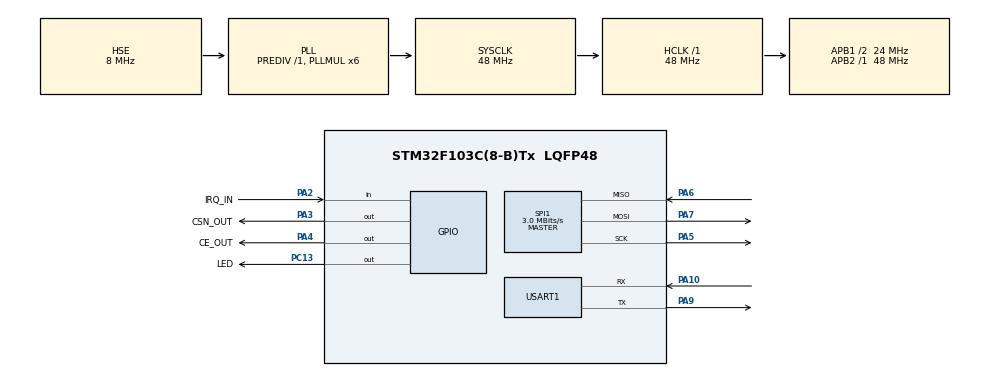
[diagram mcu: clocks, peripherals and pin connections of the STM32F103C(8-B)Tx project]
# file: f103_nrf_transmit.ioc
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Dma.Request0=USART1_RX
Dma.USART1_RX.0.Direction=DMA_PERIPH_TO_MEMORY
Dma.USART1_RX.0.Instance=DMA1_Channel5
Dma.USART1_RX.0.MemDataAlignment=DMA_MDATAALIGN_BYTE
Dma.USART1_RX.0.MemInc=DMA_MINC_ENABLE
Dma.USART1_RX.0.Mode=DMA_NORMAL
Dma.USART1_RX.0.PeriphDataAlignment=DMA_PDATAALIGN_BYTE
Dma.USART1_RX.0.PeriphInc=DMA_PINC_DISABLE
Dma.USART1_RX.0.Priority=DMA_PRIORITY_LOW
Mcu.Family=STM32F1
Mcu.Name=STM32F103C(8-B)Tx
Mcu.Package=LQFP48
NVIC.DMA1_Channel5_IRQn=true\:0\:0\:false\:false\:true\:false\:true
NVIC.PriorityGroup=NVIC_PRIORITYGROUP_4
NVIC.USART1_IRQn=true\:2\:0\:true\:false\:true\:true\:true
PA10.Mode=Asynchronous
PA10.Signal=USART1_RX
PA13.Mode=Serial_Wire
PA13.Signal=SYS_JTMS-SWDIO
PA14.Mode=Serial_Wire
PA14.Signal=SYS_JTCK-SWCLK
PA2.GPIO_Label=IRQ_IN
PA2.Signal=GPIO_Input
PA3.GPIO_Label=CSN_OUT
PA3.Signal=GPIO_Output
PA4.GPIO_Label=CE_OUT
PA4.Signal=GPIO_Output
PA5.Mode=Full_Duplex_Master
PA5.Signal=SPI1_SCK
PA6.Mode=Full_Duplex_Master
PA6.Signal=SPI1_MISO
PA7.Mode=Full_Duplex_Master
PA7.Signal=SPI1_MOSI
PA9.Mode=Asynchronous
PA9.Signal=USART1_TX
PC13-TAMPER-RTC.GPIO_Label=LED
PC13-TAMPER-RTC.Signal=GPIO_Output
PD0-OSC_IN.Mode=HSE-External-Oscillator
PD0-OSC_IN.Signal=RCC_OSC_IN
PD1-OSC_OUT.Mode=HSE-External-Oscillator
PD1-OSC_OUT.Signal=RCC_OSC_OUT
ProjectManager.HeapSize=0x200
ProjectManager.StackSize=0x400
ProjectManager.TargetToolchain=STM32CubeIDE
RCC.AHBFreq_Value=48000000
RCC.APB1CLKDivider=RCC_HCLK_DIV2
RCC.APB1Freq_Value=24000000
RCC.APB1TimFreq_Value=48000000
RCC.APB2Freq_Value=48000000
RCC.APB2TimFreq_Value=48000000
RCC.HCLKFreq_Value=48000000
RCC.PLLMUL=RCC_PLL_MUL6
RCC.PLLSourceVirtual=RCC_PLLSOURCE_HSE
RCC.SYSCLKFreq_VALUE=48000000
RCC.SYSCLKSource=RCC_SYSCLKSOURCE_PLLCLK
RCC.USBFreq_Value=48000000
SPI1.BaudRatePrescaler=SPI_BAUDRATEPRESCALER_16
SPI1.CalculateBaudRate=3.0 MBits/s
SPI1.Direction=SPI_DIRECTION_2LINES
SPI1.Mode=SPI_MODE_MASTER
SPI1.VirtualType=VM_MASTER
USART1.VirtualMode=VM_ASYNC
board=custom

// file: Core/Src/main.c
/* USER CODE BEGIN Header */
/**
 ******************************************************************************
 * @file           : main.c
 * @brief          : Main program body
 ******************************************************************************
 * @attention
 *
 * <h2><center>&copy; Copyright (c) 2020 STMicroelectronics.
 * All rights reserved.</center></h2>
 *
 * This software component is licensed by ST under BSD 3-Clause license,
 * the "License"; You may not use this file except in compliance with the
 * License. You may obtain a copy of the License at:
 *                        opensource.org/licenses/BSD-3-Clause
 *
 ******************************************************************************
 */
/* USER CODE END Header */

#include "main.h"

/* USER CODE BEGIN Includes */
#include "NRF24.h"
#include <stdio.h>
/* USER CODE END Includes */

/* USER CODE BEGIN PD */
#define STR_INPUT_LENGTH 100
/* USER CODE END PD */

SPI_HandleTypeDef hspi1;

UART_HandleTypeDef huart1;
DMA_HandleTypeDef hdma_usart1_rx;

/* USER CODE BEGIN PV */
char str1[STR_INPUT_LENGTH] = { 0 };
uint8_t str1_pos = 0;
uint8_t buf1[30] = { 0 };
/* USER CODE END PV */

void SystemClock_Config(void);
static void MX_GPIO_Init(void);
static void MX_DMA_Init(void);
static void MX_SPI1_Init(void);
static void MX_USART1_UART_Init(void);

int main(void)
{
	/* USER CODE BEGIN 1 */
	//uint8_t dt_reg = 0;
	uint8_t retr_cnt;
	int8_t dt;
	uint16_t retr_cnt_full;
	uint8_t ch[17] = "                ";
	uint8_t ch_2[17] = "                ";
	/* USER CODE END 1 */

	/* MCU Configuration--------------------------------------------------------*/

	/* Reset of all peripherals, Initializes the Flash interface and the Systick. */
	HAL_Init();

	/* Configure the system clock */
	SystemClock_Config();

	/* Initialize all configured peripherals */
	MX_GPIO_Init();
	MX_DMA_Init();
	MX_SPI1_Init();
	MX_USART1_UART_Init();
	/* USER CODE BEGIN 2 */
	NRF24_ini();
	/* USER CODE END 2 */

	/* Infinite loop */
	while (1)
	{

		/* USER CODE BEGIN 3 */

		if (HAL_UART_Receive(&huart1, ch, 16, 500) != HAL_OK)
		{
			dt = NRF24_Send(ch_2, 200);
			if (dt == -1)
			{
				char string_log[] = "//---no connection---//\n";
				HAL_UART_Transmit(&huart1, (uint8_t*) string_log, strlen(string_log), 1000);
			}
		}
		else
		{
			strcpy(ch_2, ch);
			dt = NRF24_Send(ch, 200);
			if (dt == -1)
			{
				char string_log[] = "//---no connection---//\n";
				HAL_UART_Transmit(&huart1, (uint8_t*) string_log, strlen(string_log), 1000);
			}
			else
			{
				retr_cnt = dt & 0xF;
				retr_cnt_full += retr_cnt;
				sprintf(str1, "\t took %i repeats to send\n", dt & 0x0F);
				HAL_UART_Transmit(&huart1, (uint8_t*) str1, strlen(str1), 1000);
			}
			HAL_Delay(200);
		}
	}
	/* USER CODE END 3 */
}

void SystemClock_Config(void)
{
	RCC_OscInitTypeDef RCC_OscInitStruct = { 0 };
	RCC_ClkInitTypeDef RCC_ClkInitStruct = { 0 };

	/** Initializes the CPU, AHB and APB busses clocks
	 */
	RCC_OscInitStruct.OscillatorType = RCC_OSCILLATORTYPE_HSE;
	RCC_OscInitStruct.HSEState = RCC_HSE_ON;
	RCC_OscInitStruct.HSEPredivValue = RCC_HSE_PREDIV_DIV1;
	RCC_OscInitStruct.HSIState = RCC_HSI_ON;
	RCC_OscInitStruct.PLL.PLLState = RCC_PLL_ON;
	RCC_OscInitStruct.PLL.PLLSource = RCC_PLLSOURCE_HSE;
	RCC_OscInitStruct.PLL.PLLMUL = RCC_PLL_MUL6;
	if (HAL_RCC_OscConfig(&RCC_OscInitStruct) != HAL_OK)
	{
		Error_Handler();
	}
	/** Initializes the CPU, AHB and APB busses clocks
	 */
	RCC_ClkInitStruct.ClockType = RCC_CLOCKTYPE_HCLK | RCC_CLOCKTYPE_SYSCLK | RCC_CLOCKTYPE_PCLK1
			| RCC_CLOCKTYPE_PCLK2;
	RCC_ClkInitStruct.SYSCLKSource = RCC_SYSCLKSOURCE_PLLCLK;
	RCC_ClkInitStruct.AHBCLKDivider = RCC_SYSCLK_DIV1;
	RCC_ClkInitStruct.APB1CLKDivider = RCC_HCLK_DIV2;
	RCC_ClkInitStruct.APB2CLKDivider = RCC_HCLK_DIV1;

	if (HAL_RCC_ClockConfig(&RCC_ClkInitStruct, FLASH_LATENCY_1) != HAL_OK)
	{
		Error_Handler();
	}
}

static void MX_SPI1_Init(void)
{

	/* SPI1 parameter configuration*/
	hspi1.Instance = SPI1;
	hspi1.Init.Mode = SPI_MODE_MASTER;
	hspi1.Init.Direction = SPI_DIRECTION_2LINES;
	hspi1.Init.DataSize = SPI_DATASIZE_8BIT;
	hspi1.Init.CLKPolarity = SPI_POLARITY_LOW;
	hspi1.Init.CLKPhase = SPI_PHASE_1EDGE;
	hspi1.Init.NSS = SPI_NSS_SOFT;
	hspi1.Init.BaudRatePrescaler = SPI_BAUDRATEPRESCALER_16;
	hspi1.Init.FirstBit = SPI_FIRSTBIT_MSB;
	hspi1.Init.TIMode = SPI_TIMODE_DISABLE;
	hspi1.Init.CRCCalculation = SPI_CRCCALCULATION_DISABLE;
	hspi1.Init.CRCPolynomial = 10;
	if (HAL_SPI_Init(&hspi1) != HAL_OK)
	{
		Error_Handler();
	}

}

static void MX_USART1_UART_Init(void)
{

	huart1.Instance = USART1;
	huart1.Init.BaudRate = 115200;
	huart1.Init.WordLength = UART_WORDLENGTH_8B;
	huart1.Init.StopBits = UART_STOPBITS_1;
	huart1.Init.Parity = UART_PARITY_NONE;
	huart1.Init.Mode = UART_MODE_TX_RX;
	huart1.Init.HwFlowCtl = UART_HWCONTROL_NONE;
	huart1.Init.OverSampling = UART_OVERSAMPLING_16;
	if (HAL_UART_Init(&huart1) != HAL_OK)
	{
		Error_Handler();
	}

}

static void MX_DMA_Init(void)
{

	/* DMA controller clock enable */
	__HAL_RCC_DMA1_CLK_ENABLE();

	/* DMA interrupt init */
	/* DMA1_Channel5_IRQn interrupt configuration */
	HAL_NVIC_SetPriority(DMA1_Channel5_IRQn, 0, 0);
	HAL_NVIC_EnableIRQ(DMA1_Channel5_IRQn);

}

static void MX_GPIO_Init(void)
{
	GPIO_InitTypeDef GPIO_InitStruct = { 0 };

	/* GPIO Ports Clock Enable */
	__HAL_RCC_GPIOC_CLK_ENABLE();
	__HAL_RCC_GPIOD_CLK_ENABLE();
	__HAL_RCC_GPIOA_CLK_ENABLE();

	/*Configure GPIO pin Output Level */
	HAL_GPIO_WritePin(LED_GPIO_Port, LED_Pin, GPIO_PIN_RESET);

	/*Configure GPIO pin Output Level */
	HAL_GPIO_WritePin(GPIOA, CSN_OUT_Pin | CE_OUT_Pin, GPIO_PIN_RESET);

	/*Configure GPIO pin : LED_Pin */
	GPIO_InitStruct.Pin = LED_Pin;
	GPIO_InitStruct.Mode = GPIO_MODE_OUTPUT_PP;
	GPIO_InitStruct.Pull = GPIO_NOPULL;
	GPIO_InitStruct.Speed = GPIO_SPEED_FREQ_LOW;
	HAL_GPIO_Init(LED_GPIO_Port, &GPIO_InitStruct);

	/*Configure GPIO pin : IRQ_IN_Pin */
	GPIO_InitStruct.Pin = IRQ_IN_Pin;
	GPIO_InitStruct.Mode = GPIO_MODE_INPUT;
	GPIO_InitStruct.Pull = GPIO_NOPULL;
	HAL_GPIO_Init(IRQ_IN_GPIO_Port, &GPIO_InitStruct);

	/*Configure GPIO pins : CSN_OUT_Pin CE_OUT_Pin */
	GPIO_InitStruct.Pin = CSN_OUT_Pin | CE_OUT_Pin;
	GPIO_InitStruct.Mode = GPIO_MODE_OUTPUT_PP;
	GPIO_InitStruct.Pull = GPIO_NOPULL;
	GPIO_InitStruct.Speed = GPIO_SPEED_FREQ_LOW;
	HAL_GPIO_Init(GPIOA, &GPIO_InitStruct);

}

void Error_Handler(void)
{
}

/************************ (C) COPYRIGHT STMicroelectronics *****END OF FILE****/
